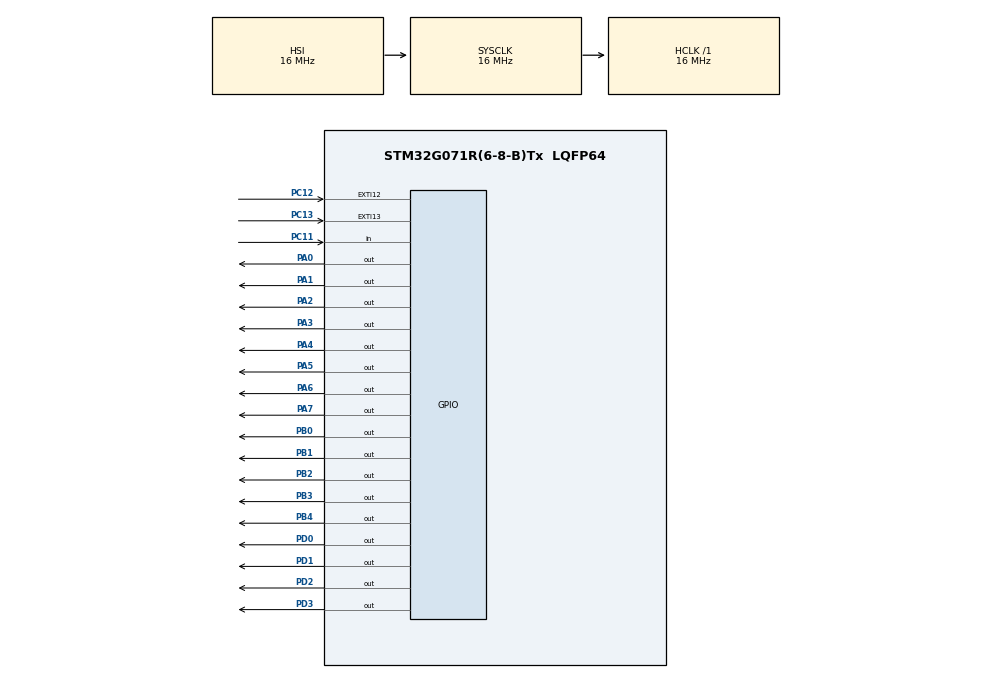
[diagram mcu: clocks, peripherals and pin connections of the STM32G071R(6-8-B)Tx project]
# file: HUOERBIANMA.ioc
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Mcu.Family=STM32G0
Mcu.Name=STM32G071R(6-8-B)Tx
Mcu.Package=LQFP64
NVIC.EXTI4_15_IRQn=true\:0\:0\:false\:false\:true\:true\:true
PA0.Signal=GPIO_Output
PA1.Signal=GPIO_Output
PA2.Signal=GPIO_Output
PA3.Signal=GPIO_Output
PA4.Signal=GPIO_Output
PA5.Signal=GPIO_Output
PA6.Signal=GPIO_Output
PA7.Signal=GPIO_Output
PB0.Signal=GPIO_Output
PB1.Signal=GPIO_Output
PB2.Signal=GPIO_Output
PB3.Signal=GPIO_Output
PB4.Signal=GPIO_Output
PC11.Signal=GPIO_Input
PC12.GPIO_ModeDefaultEXTI=GPIO_MODE_IT_FALLING
PC12.Signal=GPXTI12
PC13.GPIO_ModeDefaultEXTI=GPIO_MODE_IT_FALLING
PC13.Signal=GPXTI13
PD0.Signal=GPIO_Output
PD1.Signal=GPIO_Output
PD2.Signal=GPIO_Output
PD3.Signal=GPIO_Output
ProjectManager.HeapSize=0x200
ProjectManager.StackSize=0x400
ProjectManager.TargetToolchain=MDK-ARM V5.27
RCC.AHBFreq_Value=16000000
RCC.CortexFreq_Value=16000000
RCC.EXTERNAL_CLOCK_VALUE=48000
RCC.HCLKFreq_Value=16000000
RCC.HSE_VALUE=8000000
RCC.HSI_VALUE=16000000
RCC.LSE_VALUE=32768
RCC.SYSCLKFreq_VALUE=16000000
RCC.VCOOutputFreq_Value=128000000
VP_SYS_VS_DBSignals.Mode=DisableDeadBatterySignals
board=custom

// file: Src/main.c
/* USER CODE BEGIN Header */
/**
  ******************************************************************************
  * @file           : main.c
  * @brief          : Main program body
  ******************************************************************************
  * @attention
  *
  * <h2><center>&copy; Copyright (c) 2021 STMicroelectronics.
  * All rights reserved.</center></h2>
  *
  * This software component is licensed by ST under BSD 3-Clause license,
  * the "License"; You may not use this file except in compliance with the
  * License. You may obtain a copy of the License at:
  *                        opensource.org/licenses/BSD-3-Clause
  *
  ******************************************************************************
  */
/* USER CODE END Header */
#include "main.h"

unsigned char Step_table[]={0x08,0x04,0x02,0x01};
int speed=4;
int mode=0;
int number=0;
int number1=0;
unsigned char tstr[5];

void delay(void);
void lcdwritecmd(unsigned char cmd);
void lcdwritedata(unsigned char dat);
void lcdinit(void);
void lcdsetcursor(unsigned char x, unsigned char y);
void lcdshowstr(unsigned char x, unsigned char y, unsigned char *str);
/* USER CODE BEGIN Includes */
ITStatus EXTI_GetITStatus(uint32_t EXTI_Line)
{
    ITStatus bitstatus = RESET; //chushi wei zhuangtai 0
    uint32_t enablestatus = 0;  //chushi shineng zhuangtai 0
    /* Check the parameters */
    assert_param(IS_GET_EXTI_LINE(EXTI_Line));
    enablestatus =  EXTI->IMR1 & EXTI_Line;
    if (((EXTI->FPR1 & EXTI_Line) != (uint32_t)RESET) && (enablestatus != (uint32_t)RESET))
		      bitstatus = SET;
    else
        bitstatus = RESET;
    return bitstatus;
}

void EXTI_ClearITPendingBit(uint32_t EXTI_Line)
{
  /* Check the parameters */
  assert_param(IS_EXTI_LINE(EXTI_Line));
  EXTI->FPR1 = EXTI_Line;
}
/* USER CODE END Includes */

void SystemClock_Config(void);
static void MX_GPIO_Init(void);

int main(void)
{

  /* MCU Configuration--------------------------------------------------------*/

  /* Reset of all peripherals, Initializes the Flash interface and the Systick. */
  HAL_Init();

  /* Configure the system clock */
  SystemClock_Config();

  /* Initialize all configured peripherals */
  MX_GPIO_Init();
  /* USER CODE BEGIN 2 */
	lcdinit();
  /* USER CODE END 2 */
	lcdshowstr(0,0,"Qian");
	lcdshowstr(5,0,"Hou");
  /* Infinite loop */
  while (1)
  {
		if(mode==0)
			for(int i=0;i<4;i++)
			{
				GPIOD->ODR=Step_table[i];
				HAL_Delay(speed);
			}
		else
			for(int i=0;i<4;i++)
			{
				GPIOD->ODR=Step_table[3-i];
				HAL_Delay(speed);
			}
  }
}

void SystemClock_Config(void)
{
  RCC_OscInitTypeDef RCC_OscInitStruct = {0};
  RCC_ClkInitTypeDef RCC_ClkInitStruct = {0};

  /** Configure the main internal regulator output voltage
  */
  HAL_PWREx_ControlVoltageScaling(PWR_REGULATOR_VOLTAGE_SCALE1);
  /** Initializes the RCC Oscillators according to the specified parameters
  * in the RCC_OscInitTypeDef structure.
  */
  RCC_OscInitStruct.OscillatorType = RCC_OSCILLATORTYPE_HSI;
  RCC_OscInitStruct.HSIState = RCC_HSI_ON;
  RCC_OscInitStruct.HSIDiv = RCC_HSI_DIV1;
  RCC_OscInitStruct.HSICalibrationValue = RCC_HSICALIBRATION_DEFAULT;
  RCC_OscInitStruct.PLL.PLLState = RCC_PLL_NONE;
  if (HAL_RCC_OscConfig(&RCC_OscInitStruct) != HAL_OK)
  {
    Error_Handler();
  }
  /** Initializes the CPU, AHB and APB buses clocks
  */
  RCC_ClkInitStruct.ClockType = RCC_CLOCKTYPE_HCLK|RCC_CLOCKTYPE_SYSCLK
                              |RCC_CLOCKTYPE_PCLK1;
  RCC_ClkInitStruct.SYSCLKSource = RCC_SYSCLKSOURCE_HSI;
  RCC_ClkInitStruct.AHBCLKDivider = RCC_SYSCLK_DIV1;
  RCC_ClkInitStruct.APB1CLKDivider = RCC_HCLK_DIV1;

  if (HAL_RCC_ClockConfig(&RCC_ClkInitStruct, FLASH_LATENCY_0) != HAL_OK)
  {
    Error_Handler();
  }
}

static void MX_GPIO_Init(void)
{
  GPIO_InitTypeDef GPIO_InitStruct = {0};

  /* GPIO Ports Clock Enable */
  __HAL_RCC_GPIOC_CLK_ENABLE();
  __HAL_RCC_GPIOA_CLK_ENABLE();
  __HAL_RCC_GPIOB_CLK_ENABLE();
  __HAL_RCC_GPIOD_CLK_ENABLE();

  /*Configure GPIO pin Output Level */
  HAL_GPIO_WritePin(GPIOA, GPIO_PIN_0|GPIO_PIN_1|GPIO_PIN_2|GPIO_PIN_3
                          |GPIO_PIN_4|GPIO_PIN_5|GPIO_PIN_6|GPIO_PIN_7, GPIO_PIN_RESET);

  /*Configure GPIO pin Output Level */
  HAL_GPIO_WritePin(GPIOB, GPIO_PIN_0|GPIO_PIN_1|GPIO_PIN_2|GPIO_PIN_3
                          |GPIO_PIN_4, GPIO_PIN_RESET);

  /*Configure GPIO pin Output Level */
  HAL_GPIO_WritePin(GPIOD, GPIO_PIN_0|GPIO_PIN_1|GPIO_PIN_2|GPIO_PIN_3, GPIO_PIN_RESET);

  /*Configure GPIO pin : PC11 */
  GPIO_InitStruct.Pin = GPIO_PIN_11;
  GPIO_InitStruct.Mode = GPIO_MODE_INPUT;
  GPIO_InitStruct.Pull = GPIO_NOPULL;
  HAL_GPIO_Init(GPIOC, &GPIO_InitStruct);

  /*Configure GPIO pins : PC12 PC13 */
  GPIO_InitStruct.Pin = GPIO_PIN_12|GPIO_PIN_13;
  GPIO_InitStruct.Mode = GPIO_MODE_IT_FALLING;
  GPIO_InitStruct.Pull = GPIO_NOPULL;
  HAL_GPIO_Init(GPIOC, &GPIO_InitStruct);

  /*Configure GPIO pins : PA0 PA1 PA2 PA3
                           PA4 PA5 PA6 PA7 */
  GPIO_InitStruct.Pin = GPIO_PIN_0|GPIO_PIN_1|GPIO_PIN_2|GPIO_PIN_3
                          |GPIO_PIN_4|GPIO_PIN_5|GPIO_PIN_6|GPIO_PIN_7;
  GPIO_InitStruct.Mode = GPIO_MODE_OUTPUT_PP;
  GPIO_InitStruct.Pull = GPIO_NOPULL;
  GPIO_InitStruct.Speed = GPIO_SPEED_FREQ_LOW;
  HAL_GPIO_Init(GPIOA, &GPIO_InitStruct);

  /*Configure GPIO pins : PB0 PB1 PB2 PB3
                           PB4 */
  GPIO_InitStruct.Pin = GPIO_PIN_0|GPIO_PIN_1|GPIO_PIN_2|GPIO_PIN_3
                          |GPIO_PIN_4;
  GPIO_InitStruct.Mode = GPIO_MODE_OUTPUT_PP;
  GPIO_InitStruct.Pull = GPIO_NOPULL;
  GPIO_InitStruct.Speed = GPIO_SPEED_FREQ_LOW;
  HAL_GPIO_Init(GPIOB, &GPIO_InitStruct);

  /*Configure GPIO pins : PD0 PD1 PD2 PD3 */
  GPIO_InitStruct.Pin = GPIO_PIN_0|GPIO_PIN_1|GPIO_PIN_2|GPIO_PIN_3;
  GPIO_InitStruct.Mode = GPIO_MODE_OUTPUT_PP;
  GPIO_InitStruct.Pull = GPIO_NOPULL;
  GPIO_InitStruct.Speed = GPIO_SPEED_FREQ_LOW;
  HAL_GPIO_Init(GPIOD, &GPIO_InitStruct);

  /* EXTI interrupt init*/
  HAL_NVIC_SetPriority(EXTI4_15_IRQn, 0, 0);
  HAL_NVIC_EnableIRQ(EXTI4_15_IRQn);

}

/* USER CODE BEGIN 4 */
void delay ()
{
	for(int i=0;i<99;i++)
	  for(int j=0;j<99;j++)
	 {}
}

void lcdwritecmd(unsigned char cmd)
{
	delay();          //           使能 写  指令
	GPIOB->ODR=0x18;  //RST=1\PSB=1\E=0\RW=0\RS=0
	GPIOA->ODR=cmd;
	GPIOB->ODR=0x1C;	//RST=1\PSB=1\E=1\RW=0\RS=0
	delay();
	GPIOB->ODR=0x18;	//RST=1\PSB=1\E=0\RW=0\RS=0
}

void lcdwritedata(unsigned char dat)
{
  delay();          //           使能  写  数据
	GPIOB->ODR=0x19;	//RST=1\PSB=1\E=0\RW=0\RS=1
  GPIOA->ODR=dat;
	GPIOB->ODR=0x1D;	//RST=1\PSB=1\E=1\RW=0\RS=1
	delay();
	GPIOB->ODR=0x19;	//RST=1\PSB=1\E=0\RW=0\RS=1
}

void lcdinit()
{
	lcdwritecmd(0x34); //E 使能   RS1数据0指令  RW1读0写
	lcdwritecmd(0x30);
	lcdwritecmd(0x0C);
	lcdwritecmd(0x01);
}

void lcdsetcursor(unsigned char x, unsigned char y) //字符定位
{
	unsigned char address;
	if(y==0)
		address=0x80+x;
	else if(y==1)
		address=0x90+x;
	else if(y==2)
		address=0x88+x;
	else
		address=0x98+x;
	lcdwritecmd(address|0x80);
}

void lcdshowstr(unsigned char x, unsigned char y, unsigned char *str) //字符输出
{
	lcdsetcursor(x,y);
	while((*str)!='\0')
	{
		 lcdwritedata(*str);
  		str++;
	}
}

void EXTI4_15_IRQHandler(void)
{
	if (EXTI_GetITStatus(0x2000) != 0x00)  // 0x2000==EXTI_PIN_13
  {
		EXTI_ClearITPendingBit(0x2000);  //Clear interrupt flag bit
		if(mode==0)
			mode++;
		else
			mode=0;
  }

	if (EXTI_GetITStatus(0x1000) != 0x00)  // 0x1000==EXTI_PIN_12
  {
		EXTI_ClearITPendingBit(0x1000);
		if(HAL_GPIO_ReadPin(GPIOC,GPIO_PIN_11)==1)
		{   number++;
				sprintf(tstr,"%d",number);
				lcdshowstr(0,1,tstr); }
		else if(HAL_GPIO_ReadPin(GPIOC,GPIO_PIN_11)==0)
		{		number1++;
				sprintf(tstr,"%d",number1);
				lcdshowstr(5,1,tstr);		}
		else ;
  }
}
/* USER CODE END 4 */

void Error_Handler(void)
{
  __disable_irq();
  while (1)
  {
  }
}

/************************ (C) COPYRIGHT STMicroelectronics *****END OF FILE****/
